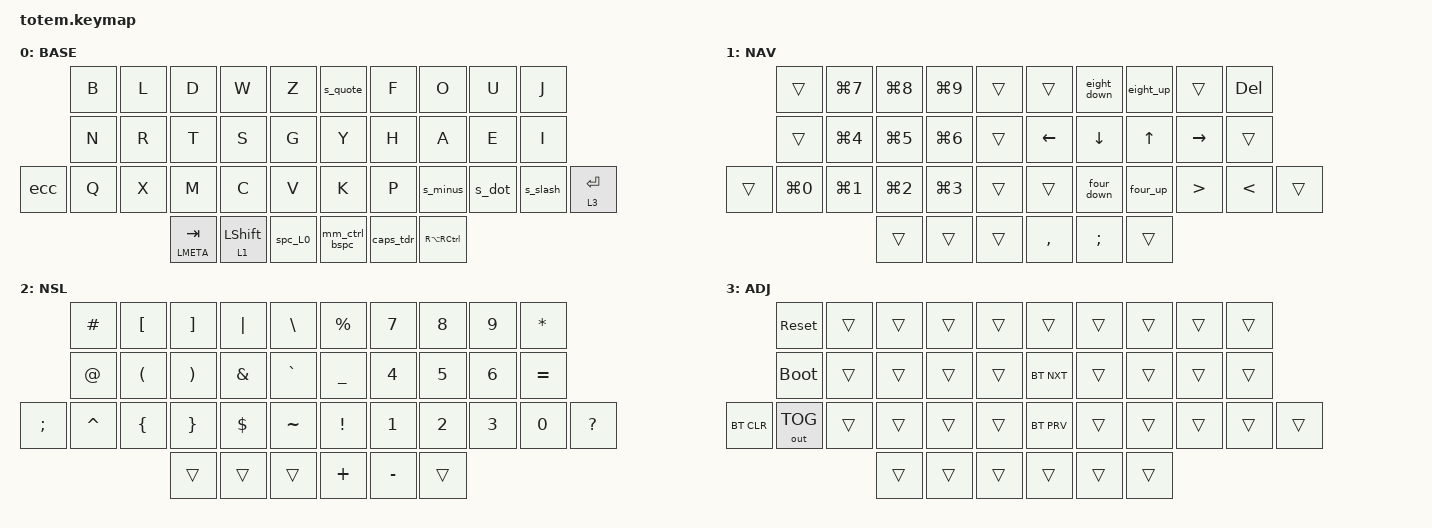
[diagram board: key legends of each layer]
#include <behaviors.dtsi>
#include <dt-bindings/zmk/keys.h>
#include <dt-bindings/zmk/bt.h>
#include <dt-bindings/zmk/outputs.h>

#define BASE 0
#define NAV  1
#define NSL  2
#define ADJ  3

&mt {
  /* tapping-term-ms = <170>; */
    quick-tap-ms = <250>;
    /* flavor = "hold-preferred"; */
  /* global-quick-tap; */
};

&lt {
    /* tapping-term-ms = <170>; */
    quick-tap-ms = <250>;
    /* flavor = "tap-preferred"; */
    /* global-quick-tap; */
    require-prior-idle-ms = <250>;
};

&sk {
    quick-release;
};

/ {
    behaviors {
       /*
        *
        */
        caps_tdr: caps_tap_dance_right {
            compatible = "zmk,behavior-tap-dance";
            #binding-cells = <0>;
            tapping-term-ms = <200>;
            /* bindings = <&smt RSHFT RALT>, <&caps_word>; */
            bindings = <&sk RALT>, <&caps_word>;
        };

        caps_tdl: caps_tap_dance_left {
            compatible = "zmk,behavior-tap-dance";
            #binding-cells = <0>;
            tapping-term-ms = <200>;
            bindings = <&slt 1 LSHFT>, <&caps_word>;
        };


       /*   Custom mod-tap/layer-tap behavior.
        *   The main idea is to accomodate
        *   the one-shot (i.e. sticky) mods.
        */
        slt: sticky_layer_tap {
            compatible = "zmk,behavior-hold-tap";
            #binding-cells = <2>;
            flavor = "tap-preferred";
            tapping-term-ms = <200>;
            require-prior-idle-ms = <250>;
            bindings = <&mo>, <&sk>;
            display-name = "Sticky-Layer-Tap";
        };

        smt: sticky_mod_tap {
            compatible = "zmk,behavior-hold-tap";
            #binding-cells = <2>;
            flavor = "hold-preferred";
            tapping-term-ms = <200>;
            bindings = <&kp>, <&sk>;
            display-name = "Sticky-Mod-Tap";
        };

       /*   CTRL -based behavior of what would normally be a plain SPACE.
        *   Implemented as nested mod-morphs. The main idea is that `space`
        *   and `comma` are among the most commonly typed characters; hence
        *   their optimized placement (again, not without some individual
        *   preferences).
        */
        spc_L1: rctl_space {
            compatible = "zmk,behavior-mod-morph";
            #binding-cells = <0>;
            bindings = <&lt 2 SPACE>, <&kp COMMA>;
            mods = <(MOD_RCTL)>;
        };

        spc_L0: lctl_space {
            compatible = "zmk,behavior-mod-morph";
            #binding-cells = <0>;
            /* bindings = <&spc_L1>, <&kp COLON>; */
            bindings = <&lt 2 SPACE>, <&kp COLON>;
            mods = <(MOD_LCTL)>;
        };

       /*   Quasi-Shift behavior for certain keys.
        *   In the traditional QWERTY layout/keyboard proper,
        *   pairs of non-alphanumeric symbols seem to be tightly coupled
        *   with one another via Shift Mod Key (e.g. / and ? ).
        *   In ZMK, there could actually be an easier way to decouple them,
        *   and, as such, this schema is also subject to revision.
        */
        s_minus: shift_minus {
            compatible = "zmk,behavior-mod-morph";
            #binding-cells = <0>;
            bindings = <&kp MINUS>, <&kp PLUS>;
            mods = <(MOD_LSFT|MOD_RSFT)>;
        };

        s_dot: shift_dot {
            compatible = "zmk,behavior-mod-morph";
            #binding-cells = <0>;
            bindings = <&kp DOT>, <&kp GT>;
            mods = <(MOD_LSFT|MOD_RSFT)>;
        };

        s_slash: shift_slash {
            compatible = "zmk,behavior-mod-morph";
            #binding-cells = <0>;
            bindings = <&kp FSLH>, <&kp LT>;
            mods = <(MOD_LSFT|MOD_RSFT)>;
        };

        s_quote: shift_quotes {
            compatible = "zmk,behavior-mod-morph";
            #binding-cells = <0>;
            bindings = <&kp APOS>, <&kp DQT>;
            mods = <(MOD_LSFT|MOD_RSFT)>;
        };

        ecc: esc_comma_ctl {
            compatible = "zmk,behavior-mod-morph";
            #binding-cells = <0>;
            bindings = <&mt LCTRL ESC>, <&kp COMMA>;
            mods = <MOD_RCTL>;
        };

       /*
        *
        *
        */
        mm_ctrl_bspc: ctrl_bspc {
            compatible = "zmk,behavior-mod-morph";
            #binding-cells = <0>;
            bindings = <&mt RCTRL BSPC>, <&kp BSPC>;
            mods = <MOD_LCTL>;
            keep-mods = <MOD_LCTL>;
        };

    };

    macros {
       /*   Easier navigation macros.  */
        four_down: four_down_macro {
            compatible = "zmk,behavior-macro";
            #binding-cells = <0>;
            bindings = <&macro_tap &kp DOWN &kp DOWN &kp DOWN &kp DOWN>;
        };

        four_up: four_up_macro {
            compatible = "zmk,behavior-macro";
            #binding-cells = <0>;
            bindings = <&macro_tap &kp UP &kp UP &kp UP &kp UP>;
        };

        eight_down: eight_down_macro {
            compatible = "zmk,behavior-macro";
            #binding-cells = <0>;
            bindings = <&macro_tap &kp N8 &kp DOWN>;
        };

        eight_up: eight_up_macro {
            compatible = "zmk,behavior-macro";
            #binding-cells = <0>;
            bindings = <&macro_tap &kp N8 &kp UP>;
        };
    };

/* ---------------------------------------------------------------------------------------------------------------------------------------------------- 
              ┏━━━━━━━━━━━┳━━━━━━━━━━━┳━━━━━━━━━━━┳━━━━━━━━━━━┳━━━━━━━━━━━┓   ┏━━━━━━━━━━━┳━━━━━━━━━━━┳━━━━━━━━━━━┳━━━━━━━━━━━┳━━━━━━━━━━━┓
              ┃     b     ┃     l     ┃     d     ┃     w     ┃    z      ┃   ┃     "     ┃     f     ┃     o     ┃     u     ┃     j     ┃
              ┣━━━━━━━━━━━╋━━━━━━━━━━━╋━━━━━━━━━━━╋━━━━━━━━━━━╋━━━━━━━━━━━┫   ┣━━━━━━━━━━━╋━━━━━━━━━━━╋━━━━━━━━━━━╋━━━━━━━━━━━╋━━━━━━━━━━━┫
              ┃     n     ┃     r     ┃     t     ┃     s     ┃    g      ┃   ┃     y     ┃     h     ┃     a     ┃     e     ┃     i     ┃
  ┏━━━━━━━━━━━╋━━━━━━━━━━━╋━━━━━━━━━━━╋━━━━━━━━━━━╋━━━━━━━━━━━╋━━━━━━━━━━━┫   ┣━━━━━━━━━━━╋━━━━━━━━━━━╋━━━━━━━━━━━╋━━━━━━━━━━━╋━━━━━━━━━━━╋━━━━━━━━━━━┓
  ┃   LCTRL   ┃     q     ┃     x     ┃     m     ┃     c     ┃    v      ┃   ┃     k     ┃     p     ┃   - (+)   ┃   . (>)   ┃  / (<)    ┃    RET    ┃
  ┗━━━━━━━━━━━┻━━━━━━━━━━━┻━━━━━━━━━━━╋━━━━━━━━━━━╋━━━━━━━━━━━╋━━━━━━━━━━━┫   ┣━━━━━━━━━━━╋━━━━━━━━━━━╋━━━━━━━━━━━╋━━━━━━━━━━━┻━━━━━━━━━━━┻━━━━━━━━━━━┛
                                      ┃           ┃           ┃           ┃   ┃           ┃           ┃           ┃
                                      ┗━━━━━━━━━━━┻━━━━━━━━━━━┻━━━━━━━━━━━┛   ┗━━━━━━━━━━━┻━━━━━━━━━━━┻━━━━━━━━━━━┛
*/
    keymap {
        compatible = "zmk,keymap";
        base_layer {
            label= "BASE";
            bindings = <
                  &kp B     &kp L       &kp D         &kp W         &kp Z       &s_quote       &kp F           &kp O      &kp U   &kp J
                  &kp N     &kp R       &kp T         &kp S         &kp G       &kp Y          &kp H           &kp A      &kp E   &kp I
    /* &mt LCTRL ESC &kp Q     &kp X       &kp M         &kp C         &kp V       &kp K          &kp P           &s_minus   &s_dot  &s_slash  &lt 3 RET */
    &ecc          &kp Q     &kp X       &kp M         &kp C         &kp V       &kp K          &kp P           &s_minus   &s_dot  &s_slash  &lt 3 RET
                                        &mt LMETA TAB &slt 1 LSHFT  &spc_L0     &mm_ctrl_bspc  &caps_tdr       &kp RA(RCTRL)
            >;
        };
/* ---------------------------------------------------------------------------------------------------------------------------------------------------- */
        nav_layer {
            label= "NAV";
            bindings = <
                &trans     &kp LG(N7)  &kp LG(N8)   &kp LG(N9)  &trans          &trans     &eight_down  &eight_up   &trans      &kp DEL
                &trans     &kp LG(N4)  &kp LG(N5)   &kp LG(N6)  &trans          &kp LEFT   &kp DOWN     &kp UP      &kp RIGHT   &trans
    &trans      &kp LG(N0) &kp LG(N1)  &kp LG(N2)   &kp LG(N3)  &trans          &trans     &four_down   &four_up    &kp GT      &kp LT     &trans
                                       &trans       &trans      &trans          &kp COMMA  &kp SEMI     &trans
            >;
        };
/* ---------------------------------------------------------------------------------------------------------------------------------------------------- */
        num_sym_layer {
            label= "NSL";
            bindings = <
                &kp HASH    &kp LBKT    &kp RBKT     &kp PIPE    &kp BSLH        &kp PRCNT   &kp N7      &kp N8      &kp N9     &kp ASTRK
                &kp AT      &kp LPAR    &kp RPAR     &kp AMPS    &kp GRAVE       &kp UNDER   &kp N4      &kp N5      &kp N6     &kp EQUAL
    &kp SEMI    &kp CARET   &kp LBRC    &kp RBRC     &kp DOLLAR  &kp TILDE       &kp EXCL    &kp N1      &kp N2      &kp N3     &kp N0      &kp QMARK
                                        &trans       &trans      &trans          &kp PLUS    &kp MINUS   &trans
            >;
        };
/* ---------------------------------------------------------------------------------------------------------------------------------------------------- */
        adjust_layer {
            label= "ADJ";
            bindings = <
                &sys_reset   &trans     &trans       &trans      &trans          &trans      &trans      &trans       &trans      &trans
                &bootloader  &trans     &trans       &trans      &trans          &bt BT_NXT  &trans      &trans       &trans      &trans
    &bt BT_CLR  &out OUT_TOG &trans     &trans       &trans      &trans          &bt BT_PRV  &trans      &trans       &trans      &trans    &trans
                                        &trans       &trans      &trans          &trans      &trans      &trans
            >;
        };
    };
};
